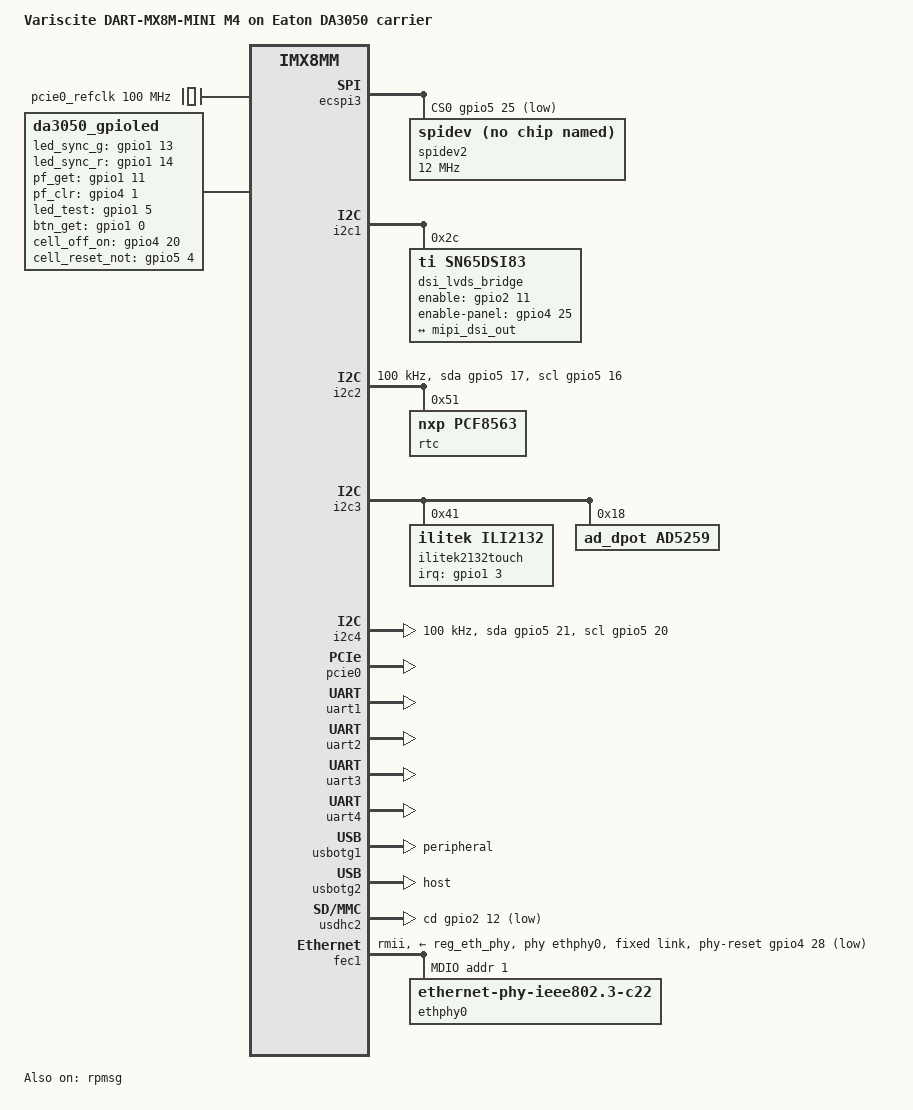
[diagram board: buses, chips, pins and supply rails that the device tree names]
// SPDX-License-Identifier: (GPL-2.0+ OR MIT)
/*
 * Copyright 2019 NXP
 * Copyright 2019-2021 Variscite Ltd.
 * Copyright 2021 Eaton
 */

/*
#include "imx8mm-var-dart-dt8mcustomboard-legacy-m4.dts x"
    #include "imx8mm-var-dart-dt8mcustomboard-legacy.dts x"
        #include "imx8mm-var-dart.dtsi x"
        #include "imx8mm-var-dart-dt8mcustomboard-common.dtsi x"

    #include "imx8mm-var-dart-dt8mcustomboard-m4.dtsi x"
*/

/*
 * ATTENTION: M4 may use IPs. They must be disabled in the device tree.
 * EX: ECSPI1, GPIO4, GPT1, I2C4, WDOG1, PWM3, SDMA1/3, UART3
*/


// Base dtsi.
// Note: includes imx8mm.dtsi
#include "imx8mm-var-dart.dtsi"


// DA3050 specific settings
//////////////////////////////////////////////////

&sdma1{
    status = "okay";
};

&ecspi1 {
    pinctrl-names = "default";
    pinctrl-0 = <&pinctrl_ecspi1>;
    cs-gpios = <&gpio5 9 GPIO_ACTIVE_LOW>;
    status = "disabled";

    /* Test SPI device */
    spidev1@0 {
        reg = <0>;
        compatible = "var,spidev";
        spi-max-frequency = <12000000>;
        status = "disabled";
    };
};

&ecspi3 {
    pinctrl-names = "default";
    pinctrl-0 = <&pinctrl_ecspi3>;
    cs-gpios = <&gpio5 25 GPIO_ACTIVE_LOW>;
    status = "okay";

    /* Test SPI device */
    spidev2@0 {
        reg = <0>;
        compatible = "var,spidev";
        spi-max-frequency = <12000000>;
        status = "okay";
    };
};

&i2c1 {
    // command parameters define in base file

    // Riverdi screen timmings
    dsi_lvds_bridge: sn65dsi84@2c {
        compatible = "ti,sn65dsi83";
        reg = <0x2c>;
        ti,dsi-lanes = <4>;
        ti,lvds-format = <0>;
        ti,lvds-bpp = <24>;
        ti,lvds-channels = <1>;
        ti,width-mm = <154>;
        ti,height-mm = <86>;
        enable-gpios = <&gpio2 11 GPIO_ACTIVE_HIGH>;
        enable-panel-gpios = <&gpio4 25 GPIO_ACTIVE_HIGH>;
        pinctrl-names = "default";
        pinctrl-0 = <&pinctrl_lvds>;
        status = "okay";

        display-timings {
            lvds {
                clock-frequency = <51200000>;
                hactive = <1024>;
                vactive = <600>;
                hback-porch = <160>;
                hfront-porch = <160>;
                vback-porch = <23>;
                vfront-porch = <12>;
                hsync-len = <70>;
                vsync-len = <10>;
                hsync-active = <0>;
                vsync-active = <0>;
                de-active = <1>;
                pixelclk-active = <0>;
            };
        };

        port {
            dsi_lvds_bridge_in: endpoint {
                remote-endpoint = <&mipi_dsi_out>;
            };
        };
    };
};

&i2c2 {
    clock-frequency = <100000>;
    pinctrl-names = "default", "gpio";
    pinctrl-0 = <&pinctrl_i2c2>;
    pinctrl-1 = <&pinctrl_i2c2_gpio>;
    scl-gpios = <&gpio5 16 GPIO_ACTIVE_HIGH>;
    sda-gpios = <&gpio5 17 GPIO_ACTIVE_HIGH>;
    status = "okay";

	rtc@51 {
        status = "okay";
		compatible = "nxp,pcf8563";
		reg = <0x51>;
    };

    /*
	tcg-tpm@2E {
        status = "okay";
		compatible = "st,st33htpm-i2c";
		reg = <0x2E>;
    };
    */
};

&i2c3 {
    // command parameters define in base file

	ilitek2132touch: ilitek2132touch@41 {
		status = "okay";
		compatible = "ilitek,ili2132";
		reg = <0x41>;
		pinctrl-names = "default";
		pinctrl-0 = <&pinctrl_ilitek2132>;
		interrupt-parent = <&gpio1>;
		interrupts = <3 IRQ_TYPE_EDGE_FALLING>;
        //reset-gpios = <&gpiox xx GPIO_ACTIVE_LOW>;
		touchscreen-size-x = <1024>;
		touchscreen-size-y = <600>;
		wakeup-source;
	};

    tsc2007touch: tsc2007touch@4b {
        status = "disabled";
        compatible = "ti,tsc2007";
        reg = <0x4b>;
        pinctrl-names = "default";
        pinctrl-0 = <&pinctrl_tsc2007>;
        interrupt-parent = <&gpio1>;
        interrupts = <3 IRQ_TYPE_EDGE_FALLING>;
        gpios = <&gpio1 3 GPIO_ACTIVE_LOW>;

        ti,x-plate-ohms = <660>;
        ti,min-x = <35>;
        ti,max-x = <4060>;
        ti,min-y = <35>;
        ti,max-y = <4060>;
        ti,printPos = <1>;

        touchscreen-size-x = <1024>;
        touchscreen-fuzz-x = <2>;
        touchscreen-size-y = <600>;
        touchscreen-fuzz-y = <2>;

        touchscreen-inverted-x;
        touchscreen-inverted-y;

        wakeup-source;
	};

	/* AD5259 Digital Potentiometer display backlight control */
	ad5259@18 {
		status = "ok";
		compatible = "ad_dpot,ad5259";
		reg = <0x18>;
    };

	wm8904: audio-codec@1a {
		status = "disabled";
    };
};

&i2c4 {
    clock-frequency = <100000>;
    pinctrl-names = "default", "gpio";
    pinctrl-0 = <&pinctrl_i2c4>;
    pinctrl-1 = <&pinctrl_i2c4_gpio>;
    scl-gpios = <&gpio5 20 GPIO_ACTIVE_HIGH>;
    sda-gpios = <&gpio5 21 GPIO_ACTIVE_HIGH>;
    status = "okay";

    dummy@60 {
        compatible = "dummy";
        reg = <0x60>;
    };
};

&pcie0 {
    clocks = <&clk IMX8MM_CLK_PCIE1_ROOT>,
         <&clk IMX8MM_CLK_PCIE1_AUX>,
         <&clk IMX8MM_CLK_PCIE1_PHY>,
         <&pcie0_refclk>;
    clock-names = "pcie", "pcie_aux", "pcie_phy", "pcie_bus";
    ext_osc = <1>;
    status = "okay";

    //pinctrl-names = "default";
    //pinctrl-0 = <&pinctrl_pcie0>;
    //reset-gpio = <&gpio4 7 GPIO_ACTIVE_LOW>;
};

/* No master power key*/
&snvs_pwrkey {
    status = "disabled";
};

&snvs_rtc {
    status = "disabled";
};

/* Console */
&uart1 {
    pinctrl-names = "default";
    pinctrl-0 = <&pinctrl_uart1>;
    status = "okay";
};

/* COM1 */
&uart2 {
    pinctrl-names = "default";
    pinctrl-0 = <&pinctrl_uart2>, <&pinctrl_uart2_ext>;
    status = "okay";
    rs232_enable-gpio   = <&gpio4 27 GPIO_ACTIVE_HIGH>;
    rs485_enable-gpio	= <&gpio4 18 GPIO_ACTIVE_HIGH>;
    irigout_enable-gpio = <&gpio5 1 GPIO_ACTIVE_HIGH>;

    dcd-gpios = <&gpio4  8 GPIO_ACTIVE_LOW>;
    dsr-gpios = <&gpio4 10 GPIO_ACTIVE_LOW>;
    dtr-gpios = <&gpio4  9 GPIO_ACTIVE_LOW>;
    rng-gpios = <&gpio4 11 GPIO_ACTIVE_LOW>;

	uart-has-rtscts;
    rs485-rts-active-low;
	//rts-gpios = <&gpio4 30 GPIO_ACTIVE_LOW>;
    //cts-gpios = <&gpio4 29 GPIO_ACTIVE_LOW>;

	//cts-gpios = <&gpioY Z GPIO_ACTIVE_HIGH>;                  /* Add rts-gpios property NOT for imx8 uart could, be used to add dcd...*/
	//rts-gpios = <&gpioY Z GPIO_ACTIVE_HIGH>;                  /* Add rts-gpios property */
 	//linux,rs485-enabled-at-boot-time;  						/* Enable RS485 at boot time to skip using TIOCSRS485 ioctl */
    //linux,rs485-rx-during-tx;
    //linux,rs485-rts-active-low;
};

/* PSOC */
&uart3 {
    pinctrl-names = "default";
    pinctrl-0 = <&pinctrl_uart3>;
    status = "okay";
};

/* COM2/Bluetooth
pinctrl-0 = <&pinctrl_uart4>, <&pinctrl_uart4_ext>, <&pinctrl_bt>;
*/
&uart4 {
    pinctrl-names = "default";
    pinctrl-0 = <&pinctrl_uart4>, <&pinctrl_uart4_ext>;
    assigned-clocks = <&clk IMX8MM_CLK_UART4>;
    assigned-clock-parents = <&clk IMX8MM_SYS_PLL1_80M>;
    status = "okay";
    rs232_enable-gpio   = <&gpio1 15 GPIO_ACTIVE_HIGH>;
    rs485_enable-gpio	= <&gpio4 19 GPIO_ACTIVE_HIGH>;
    irigout_enable-gpio = <&gpio5 28 GPIO_ACTIVE_HIGH>;

    dcd-gpios = <&gpio4 12 GPIO_ACTIVE_LOW>;
    dsr-gpios = <&gpio4 0 GPIO_ACTIVE_LOW>;
    dtr-gpios = <&gpio4 13 GPIO_ACTIVE_LOW>;
    rng-gpios = <&gpio4 15 GPIO_ACTIVE_LOW>;

	uart-has-rtscts;
    rs485-rts-active-low;
	//rts-gpios = <&gpiox x GPIO_ACTIVE_LOW>;
    //cts-gpios = <&gpiox x GPIO_ACTIVE_LOW>;
};

&usbotg1 {
    dr_mode = "peripheral";
    picophy,pre-emp-curr-control = <3>;
    picophy,dc-vol-level-adjust = <7>;
    status = "okay";
};

&usbotg2 {
    dr_mode = "host";
    picophy,pre-emp-curr-control = <3>;
    picophy,dc-vol-level-adjust = <7>;
    status = "okay";
};

/* SD */
&usdhc2 {
    pinctrl-names = "default", "state_100mhz", "state_200mhz";
    pinctrl-0 = <&pinctrl_usdhc2>, <&pinctrl_usdhc2_gpio>;
    pinctrl-1 = <&pinctrl_usdhc2_100mhz>, <&pinctrl_usdhc2_gpio>;
    pinctrl-2 = <&pinctrl_usdhc2_200mhz>, <&pinctrl_usdhc2_gpio>;
    cd-gpios = <&gpio2 12 GPIO_ACTIVE_LOW>;
    no-1-8-v;
    status = "okay";
};

&rpmsg{
    compatible = "fsl,imx8mm-rpmsg";
    /*
     * 64K for one rpmsg instance:
     * --0x40000000~0x4000ffff: pingpong
     */
    vdev-nums = <1>;
    reg = <0x0 0x40000000 0x0 0x10000>;
    memory-region = <&vdevbuffer>;
    status = "okay";
};

&fec1 {
    pinctrl-names = "default", "sleep";
    pinctrl-0 = <&pinctrl_fec1>, <&pinctrl_fec1_ext>;
    pinctrl-1 = <&pinctrl_fec1>, <&pinctrl_fec1_ext>;
    //pinctrl-1 = <&pinctrl_fec1_sleep>, <&pinctrl_fec1_ext_sleep>;
    phy-mode = "rmii";
    phy-handle = <&ethphy0>;
	phy-supply = <&reg_eth_phy>;
    phy-reset-gpios = <&gpio4 28 GPIO_ACTIVE_LOW>;
    phy-reset-duration = <20>;
    phy-reset-on-resume;
    status = "okay";

    clocks = <&clk IMX8MM_CLK_ENET1_ROOT>,
            <&clk IMX8MM_CLK_ENET1_ROOT>,
            <&clk IMX8MM_CLK_ENET_TIMER>,
            <&clk IMX8MM_CLK_ENET_REF>,
            <&clk IMX8MM_CLK_ENET_PHY_REF>;

    clock-names = "ipg", "ahb", "ptp",
                "enet_clk_ref", "enet_out";

    assigned-clocks = <&clk IMX8MM_CLK_ENET_AXI>,
                <&clk IMX8MM_CLK_ENET_TIMER>,
                <&clk IMX8MM_CLK_ENET_REF>,
                <&clk IMX8MM_CLK_ENET_TIMER>;

    assigned-clock-parents = <&clk IMX8MM_SYS_PLL1_266M>,
                    <&clk IMX8MM_SYS_PLL2_100M>,
                    <&clk IMX8MM_SYS_PLL2_50M>;

    assigned-clock-rates = <0>, <0>, <50000000>, <100000000>;

    fixed-link {
        speed = <100>;
        full-duplex;
    };

    mdio {
        #address-cells = <1>;
        #size-cells = <0>;
        ethphy0: ethernet-phy@0 {
            compatible = "ethernet-phy-ieee802.3-c22";
            reg = <1>;
            max-speed = <100>;
        };
    };
};

&sai3 {
    status = "diasbled";
};

/*
// Add RDC registers for GPIO access protection
&gpio1 {
    reg = <0x30200000 0x10000>, <0x303D0000 0x10000>, <0x303B0000 0x1>;
    reg-names = "gpio_base", "rdc_base", "sem_base";
    clocks = <&clk IMX8MM_CLK_GPIO1_ROOT>, <&clk IMX8MM_CLK_RDC_ROOT>, <&clk IMX8MM_CLK_SEMA42_1_ROOT>;
    clock-names = "gpio", "rdc", "sem";
};

&gpio2 {
    reg = <0x30210000 0x10000>, <0x303B0001 0x1>;
    reg-names = "gpio_base", "sem_base";
    clocks = <&clk IMX8MM_CLK_GPIO2_ROOT>, <&clk IMX8MM_CLK_RDC_ROOT>, <&clk IMX8MM_CLK_SEMA42_1_ROOT>;
	clock-names = "gpio", "rdc", "sem";
};

&gpio3 {
    reg = <0x30220000 0x10000>, <0x303B0002 0x1>;
    reg-names = "gpio_base", "sem_base";
    clocks = <&clk IMX8MM_CLK_GPIO3_ROOT>, <&clk IMX8MM_CLK_RDC_ROOT>, <&clk IMX8MM_CLK_SEMA42_1_ROOT>;
	clock-names = "gpio", "rdc", "sem";
};

&gpio4 {
    reg = <0x30230000 0x10000>, <0x303B0003 0x1>;
    reg-names = "gpio_base", "sem_base";
    clocks = <&clk IMX8MM_CLK_GPIO4_ROOT>, <&clk IMX8MM_CLK_RDC_ROOT>, <&clk IMX8MM_CLK_SEMA42_1_ROOT>;
	clock-names = "gpio", "rdc", "sem";
};

&gpio5 {
    reg = <0x30240000 0x10000>, <0x303B0004 0x1>;
    reg-names = "gpio_base", "sem_base";
    clocks = <&clk IMX8MM_CLK_GPIO5_ROOT>, <&clk IMX8MM_CLK_RDC_ROOT>, <&clk IMX8MM_CLK_SEMA42_1_ROOT>;
	clock-names = "gpio", "rdc", "sem";
};
*/

// Removed from Linux side, used exclusively by M4
&gpio3 {
    status = "disabled";
};



// New pad control definition to add SION bit set to 1
// See IOMUXC_SW_MUX_CTL_PAD_ENET_TD2 register definition in imx8mm documentation IMX8MMRM
// Could also have been done with NXP ugly 0x40000000 patch
#define MX8MM_IOMUXC_ENET_TD2_ENET1_TX_CLK_EX   0x074 0x2DC 0x000 0x11 0x0
&iomuxc {
    pinctrl-names = "default";

    // These are used to select boot source at startup
    pinctrl_donotusegpios: donotusegpiosgrp {
        fsl,pins = <
            MX8MM_IOMUXC_SAI1_TXD2_GPIO4_IO14       0x14
            MX8MM_IOMUXC_SAI1_TXD4_GPIO4_IO16       0x14
            MX8MM_IOMUXC_SAI1_TXD5_GPIO4_IO17       0x14
        >;
    };

    pinctrl_freegpios: freegpiosgrp {
        fsl,pins = <
			MX8MM_IOMUXC_UART4_TXD_GPIO5_IO29		0x14
			MX8MM_IOMUXC_GPIO1_IO12_GPIO1_IO12		0x14    /* Display fault */
        >;
    };

    pinctrl_bt: btgrp {
        fsl,pins = <
			MX8MM_IOMUXC_SD1_DATA4_GPIO2_IO6		0x14	/* BT_REG_ON       */
			MX8MM_IOMUXC_SPDIF_EXT_CLK_GPIO5_IO5	0x14	/* BT_BUF_EN       */
        >;
    };

    pinctrl_tsc2007: tsc2007grp {
        fsl,pins = <
			MX8MM_IOMUXC_GPIO1_IO03_GPIO1_IO3		0x14
        >;
    };

    pinctrl_ilitek2132: ilitek2132grp {
        fsl,pins = <
			MX8MM_IOMUXC_GPIO1_IO03_GPIO1_IO3		0x14
        >;
    };

    pinctrl_cellmodem: cellmodemgrp {
        // CELL_OFF CELL_RST_B CELL_STATUS_B
        fsl,pins = <
			MX8MM_IOMUXC_SAI1_MCLK_GPIO4_IO20		0x14
			MX8MM_IOMUXC_SPDIF_RX_GPIO5_IO4			0x14
			MX8MM_IOMUXC_SPDIF_TX_GPIO5_IO3			0x14
        >;
    };

    pinctrl_expensiongpios: expensiongpiosgrp {
        fsl,pins = <
			MX8MM_IOMUXC_SAI1_RXD1_GPIO4_IO3		0x14
			MX8MM_IOMUXC_SAI1_RXD2_GPIO4_IO4		0x14
            MX8MM_IOMUXC_SAI1_RXD0_GPIO4_IO2        0x14
        >;
    };

    pinctrl_gps: gpsgrp {
        fsl,pins = <
            MX8MM_IOMUXC_GPIO1_IO01_GPIO1_IO1       0x14
        >;
        //MX8MM_IOMUXC_SAI2_RXD0_GPIO4_IO23		0x14
    };

    pinctrl_ppscpu: ppscpugrp {
        fsl,pins = <
			MX8MM_IOMUXC_SAI1_RXD3_GPIO4_IO5		0x14
        >;
    };

    /*
    pinctrl_pps_gen: ppsgengrp {
        fsl,pins = <
			MX8MM_IOMUXC_GPIO4_IO05_GPIO4_IO5		0x14
        >;
    };
    */

    pinctrl_gpioled: gpioledgrp {
        // SYNC_GREEN, SYNC_RED, PF_LATCH, PF_LATCH_CLR, TEST_LED, BTN
        fsl,pins = <
            MX8MM_IOMUXC_GPIO1_IO13_GPIO1_IO13      0x14
            MX8MM_IOMUXC_GPIO1_IO14_GPIO1_IO14      0x14
			MX8MM_IOMUXC_GPIO1_IO11_GPIO1_IO11		0x14
			MX8MM_IOMUXC_SAI1_RXC_GPIO4_IO1			0x14
			MX8MM_IOMUXC_GPIO1_IO05_GPIO1_IO5		0x14
			MX8MM_IOMUXC_GPIO1_IO00_GPIO1_IO0		0x14
        >;
    };
    
    pinctrl_pwrsupply: pwrsupplygrp {
        fsl,pins = <
			MX8MM_IOMUXC_SAI2_TXFS_GPIO4_IO24		0x14
        >;
    };

    pinctrl_psoc: psocgrp {
        fsl,pins = <
			MX8MM_IOMUXC_SAI1_RXD4_GPIO4_IO6	0x14
			MX8MM_IOMUXC_SAI1_RXD5_GPIO4_IO7	0x14
        >;
    };

    pinctrl_fec1: fec1grp {
        fsl,pins = <
 			MX8MM_IOMUXC_ENET_MDC_ENET1_MDC				0x02
			MX8MM_IOMUXC_ENET_MDIO_ENET1_MDIO			0x02
			MX8MM_IOMUXC_ENET_TD1_ENET1_RGMII_TD1		0x16
			MX8MM_IOMUXC_ENET_TD0_ENET1_RGMII_TD0		0x16
			MX8MM_IOMUXC_ENET_RD1_ENET1_RGMII_RD1		0x90
			MX8MM_IOMUXC_ENET_RD0_ENET1_RGMII_RD0		0x90
			MX8MM_IOMUXC_ENET_RX_CTL_ENET1_RGMII_RX_CTL	0x90
			MX8MM_IOMUXC_ENET_TX_CTL_ENET1_RGMII_TX_CTL	0x16
			MX8MM_IOMUXC_ENET_TD2_ENET1_TX_CLK_EX		0x16
            MX8MM_IOMUXC_SAI3_RXFS_GPIO4_IO28           0x14
        >;
        //MX8MM_IOMUXC_GPIO1_IO09_GPIO1_IO9         0x10  //reserved on dart for onboard phy if present
    };

    pinctrl_fec1_ext: fec1extgrp {
        fsl,pins = <
			MX8MM_IOMUXC_GPIO1_IO10_GPIO1_IO10				0x14        /*ENET_LC_B*/
			MX8MM_IOMUXC_GPIO1_IO08_ENET1_1588_EVENT0_IN	0x14
			MX8MM_IOMUXC_SAI3_MCLK_GPIO5_IO2				0x14        /*ENET1_PPS_IN*/
        >;
		//MX8MM_IOMUXC_ENET_TXC_GPIO1_IO23				0x120
		//MX8MM_IOMUXC_ENET_RXC_GPIO1_IO25				0x120
    };

    pinctrl_fec1_sleep: fec1grpsleep {
        fsl,pins = <
			MX8MM_IOMUXC_ENET_MDC_GPIO1_IO16		0x120
			MX8MM_IOMUXC_ENET_MDIO_GPIO1_IO17		0x120
			MX8MM_IOMUXC_ENET_TD1_GPIO1_IO20		0x120
			MX8MM_IOMUXC_ENET_TD0_GPIO1_IO21		0x120
			MX8MM_IOMUXC_ENET_RD1_GPIO1_IO27		0x120
			MX8MM_IOMUXC_ENET_RD0_GPIO1_IO26		0x120
			MX8MM_IOMUXC_ENET_RX_CTL_GPIO1_IO24		0x120
			MX8MM_IOMUXC_ENET_TX_CTL_GPIO1_IO22		0x120
			MX8MM_IOMUXC_ENET_TD2_GPIO1_IO19		0x120
            MX8MM_IOMUXC_SAI3_RXFS_GPIO4_IO28       0x10
        >;
		//MX8MM_IOMUXC_GPIO1_IO09_GPIO1_IO9		0x120
    };

    pinctrl_fec1_ext_sleep: fec1extsleepgrp {
        fsl,pins = <
			MX8MM_IOMUXC_GPIO1_IO10_GPIO1_IO10				0x10
			MX8MM_IOMUXC_GPIO1_IO08_ENET1_1588_EVENT0_IN	0x10
			MX8MM_IOMUXC_SAI3_MCLK_GPIO5_IO2				0x10
        >;
        //MX8MM_IOMUXC_ENET_TXC_GPIO1_IO23				0x120
        //MX8MM_IOMUXC_ENET_RXC_GPIO1_IO25				0x120
    };

    pinctrl_lvds: lvdsgrp {
        fsl,pins = <
			MX8MM_IOMUXC_SD1_STROBE_GPIO2_IO11		0x16
			MX8MM_IOMUXC_SAI2_TXC_GPIO4_IO25		0x14		/*PWR_EN*/
        >;
    };

    pinctrl_ecspi1: ecspi1grp {
        // IOs Reserved for M4 not used by A53
        fsl,pins = <
			MX8MM_IOMUXC_ECSPI1_SCLK_ECSPI1_SCLK	0x12
			MX8MM_IOMUXC_ECSPI1_MOSI_ECSPI1_MOSI	0x12
			MX8MM_IOMUXC_ECSPI1_MISO_ECSPI1_MISO	0x12
			MX8MM_IOMUXC_ECSPI1_SS0_GPIO5_IO9		0x14
        >;
    };

    pinctrl_ecspi3: ecspi3grp {
        // FRAM
        fsl,pins = <
			MX8MM_IOMUXC_UART2_RXD_ECSPI3_MISO		0x12
			MX8MM_IOMUXC_UART1_TXD_ECSPI3_MOSI		0x12
			MX8MM_IOMUXC_UART1_RXD_ECSPI3_SCLK		0x12
			MX8MM_IOMUXC_UART2_TXD_GPIO5_IO25		0x14
        >;
    };

    pinctrl_i2c1: i2c1grp {
        // WARNIG!!!  Although not documented the 0x40000000 bit is necessary
        // See IMX_PAD_SION in linux-variscite/drivers/pinctrl/freescale/pinctrl-imx.c
        // This is a patch from NXP to override the SION bit in the MUX control register.
        fsl,pins = <
			MX8MM_IOMUXC_I2C1_SCL_I2C1_SCL			0x400001c2
			MX8MM_IOMUXC_I2C1_SDA_I2C1_SDA			0x400001c2
        >;
    };

    pinctrl_i2c1_gpio: i2c1grp-gpio {
        fsl,pins = <
			MX8MM_IOMUXC_I2C1_SCL_GPIO5_IO14		0x1c2
			MX8MM_IOMUXC_I2C1_SDA_GPIO5_IO15		0x1c2
        >;
    };

    pinctrl_i2c2: i2c2grp {
        // WARNIG!!!  Although not documented the 0x40000000 bit is necessary
        // See IMX_PAD_SION in linux-variscite/drivers/pinctrl/freescale/pinctrl-imx.c
        // This is a patch from NXP to override the SION bit in the MUX control register.
        fsl,pins = <
			MX8MM_IOMUXC_I2C2_SCL_I2C2_SCL			0x400001c2
			MX8MM_IOMUXC_I2C2_SDA_I2C2_SDA			0x400001c2
        >;
    };

    pinctrl_i2c2_gpio: i2c2grp-gpio {
        fsl,pins = <
			MX8MM_IOMUXC_I2C2_SCL_GPIO5_IO16		0x1c2
			MX8MM_IOMUXC_I2C2_SDA_GPIO5_IO17		0x1c2
        >;
    };

    pinctrl_i2c3: i2c3grp {
        // WARNIG!!!  Although not documented the 0x40000000 bit is necessary
        // See IMX_PAD_SION in linux-variscite/drivers/pinctrl/freescale/pinctrl-imx.c
        // This is a patch from NXP to override the SION bit in the MUX control register.
        fsl,pins = <
			MX8MM_IOMUXC_I2C3_SCL_I2C3_SCL			0x400001c2
			MX8MM_IOMUXC_I2C3_SDA_I2C3_SDA			0x400001c2
        >;
    };

    pinctrl_i2c3_gpio: i2c3grp-gpio {
        fsl,pins = <
			MX8MM_IOMUXC_I2C3_SCL_GPIO5_IO18		0x1c2
			MX8MM_IOMUXC_I2C3_SDA_GPIO5_IO19		0x1c2
        >;
    };

    pinctrl_i2c4: i2c4grp {
        // WARNIG!!!  Although not documented the 0x40000000 bit is necessary
        // See IMX_PAD_SION in linux-variscite/drivers/pinctrl/freescale/pinctrl-imx.c
        // This is a patch from NXP to override the SION bit in the MUX control register.
        fsl,pins = <
			MX8MM_IOMUXC_I2C4_SCL_I2C4_SCL			0x400001c2
			MX8MM_IOMUXC_I2C4_SDA_I2C4_SDA			0x400001c2
        >;
    };

    pinctrl_i2c4_gpio: i2c4grp-gpio {
        fsl,pins = <
			MX8MM_IOMUXC_I2C4_SCL_GPIO5_IO20		0x1c2
			MX8MM_IOMUXC_I2C4_SDA_GPIO5_IO21		0x1c2
        >;
    };

    pinctrl_uart1: uart1grp {
        fsl,pins = <
			MX8MM_IOMUXC_SAI2_RXC_UART1_DCE_RX		0x100
			MX8MM_IOMUXC_SAI2_RXFS_UART1_DCE_TX		0x140
        >;
    };

    pinctrl_uart2: uart2grp {
        fsl,pins = <
			MX8MM_IOMUXC_SAI3_TXFS_UART2_DCE_RX		0x140
			MX8MM_IOMUXC_SAI3_TXC_UART2_DCE_TX		0x140
			MX8MM_IOMUXC_SAI3_RXC_UART2_DCE_CTS_B	0x140
			MX8MM_IOMUXC_SAI3_RXD_UART2_DCE_RTS_B	0x140
        >;
    };

    pinctrl_uart2_ext: uart2extgrp {
        /*  COM1_232_EN 
            COM1_485_EN 
            COM1_DSR 
            COM1_DTR 
            COM1_GPIO_DCD 
            COM1_GPIO_RI 
            COM1_IRIG_EN */
        fsl,pins = <
            MX8MM_IOMUXC_SAI2_MCLK_GPIO4_IO27       0x14
 			MX8MM_IOMUXC_SAI1_TXD6_GPIO4_IO18		0x14
			MX8MM_IOMUXC_SAI1_TXFS_GPIO4_IO10		0x14
			MX8MM_IOMUXC_SAI1_RXD7_GPIO4_IO9		0x14
			MX8MM_IOMUXC_SAI1_RXD6_GPIO4_IO8		0x14
			MX8MM_IOMUXC_SAI1_TXC_GPIO4_IO11		0x14
			MX8MM_IOMUXC_SAI3_TXD_GPIO5_IO1			0x14
        >;
    };

    pinctrl_uart3: uart3grp {
        fsl,pins = <
			MX8MM_IOMUXC_UART3_RXD_UART3_DCE_RX		0x140
			MX8MM_IOMUXC_UART3_TXD_UART3_DCE_TX		0x140
        >;
    };
    
    pinctrl_uart4: uart4grp {
        fsl,pins = <
			MX8MM_IOMUXC_ECSPI2_SCLK_UART4_DCE_RX		0x140
			MX8MM_IOMUXC_ECSPI2_MOSI_UART4_DCE_TX		0x140
			MX8MM_IOMUXC_ECSPI2_SS0_UART4_DCE_RTS_B		0x14
			MX8MM_IOMUXC_ECSPI2_MISO_UART4_DCE_CTS_B	0x14
        >;
    };

    pinctrl_uart4_ext: uart4extgrp {
        /*  COM2_232_EN 
            COM2_485_EN 
            COM2_DSR 
            COM2_DTR 
            COM2_GPIO_DCD 
            COM2_GPIO_RI 
            COM2_IRIG_EN */
        fsl,pins = <
            MX8MM_IOMUXC_GPIO1_IO15_GPIO1_IO15          0x14
			MX8MM_IOMUXC_SAI1_TXD7_GPIO4_IO19			0x14
            MX8MM_IOMUXC_SAI1_RXFS_GPIO4_IO0            0x14
			MX8MM_IOMUXC_SAI1_TXD1_GPIO4_IO13			0x14
			MX8MM_IOMUXC_SAI1_TXD0_GPIO4_IO12			0x14
			MX8MM_IOMUXC_SAI1_TXD3_GPIO4_IO15			0x14
			MX8MM_IOMUXC_UART4_RXD_GPIO5_IO28			0x14
        >;
    };

    pinctrl_usdhc2: usdhc2grp {
        fsl,pins = <
			MX8MM_IOMUXC_SD2_CLK_USDHC2_CLK				0x190
			MX8MM_IOMUXC_SD2_CMD_USDHC2_CMD				0x1d0
			MX8MM_IOMUXC_SD2_DATA0_USDHC2_DATA0			0x1d0
			MX8MM_IOMUXC_SD2_DATA1_USDHC2_DATA1			0x1d0
			MX8MM_IOMUXC_SD2_DATA2_USDHC2_DATA2			0x1d0
			MX8MM_IOMUXC_SD2_DATA3_USDHC2_DATA3			0x1d0
			MX8MM_IOMUXC_GPIO1_IO04_USDHC2_VSELECT		0x1d0
        >;
    };

    pinctrl_usdhc2_100mhz: usdhc2grp100mhz {
        fsl,pins = <
			MX8MM_IOMUXC_SD2_CLK_USDHC2_CLK				0x194
			MX8MM_IOMUXC_SD2_CMD_USDHC2_CMD				0x1d4
			MX8MM_IOMUXC_SD2_DATA0_USDHC2_DATA0			0x1d4
			MX8MM_IOMUXC_SD2_DATA1_USDHC2_DATA1			0x1d4
			MX8MM_IOMUXC_SD2_DATA2_USDHC2_DATA2			0x1d4
			MX8MM_IOMUXC_SD2_DATA3_USDHC2_DATA3			0x1d4
			MX8MM_IOMUXC_GPIO1_IO04_USDHC2_VSELECT		0x1d0
        >;
    };

    pinctrl_usdhc2_200mhz: usdhc2grp200mhz {
        fsl,pins = <
			MX8MM_IOMUXC_SD2_CLK_USDHC2_CLK				0x196
			MX8MM_IOMUXC_SD2_CMD_USDHC2_CMD				0x1d6
			MX8MM_IOMUXC_SD2_DATA0_USDHC2_DATA0			0x1d6
			MX8MM_IOMUXC_SD2_DATA1_USDHC2_DATA1			0x1d6
			MX8MM_IOMUXC_SD2_DATA2_USDHC2_DATA2			0x1d6
			MX8MM_IOMUXC_SD2_DATA3_USDHC2_DATA3			0x1d6
			MX8MM_IOMUXC_GPIO1_IO04_USDHC2_VSELECT		0x1d0
        >;
    };

    pinctrl_usdhc2_gpio: usdhc2grpgpio {
        fsl,pins = <
			MX8MM_IOMUXC_SD2_CD_B_GPIO2_IO12		0x80
        >;
    };

    /*
    // Reserved for M4
	pinctrl_m4cpu: m4cpugrp {
        fsl,pins = <
            MX8MM_IOMUXC_SAI5_RXFS_GPIO3_IO19   0x14    //SPI_FUNCT_MUX0
            MX8MM_IOMUXC_SAI5_RXD1_GPIO3_IO22   0x14    //SPI_FUNCT_MUX1
            MX8MM_IOMUXC_SAI5_RXD2_GPIO3_IO23   0x14    //SPI_FUNCT_MUX2

            MX8MM_IOMUXC_SAI5_RXD3_GPIO3_IO24   0x14    //SPI_SLOT_CS_MUX0_B
            MX8MM_IOMUXC_SAI5_RXC_GPIO3_IO20    0x14    //SPI_SLOT_CS_MUX1_B
            MX8MM_IOMUXC_SAI5_RXD0_GPIO3_IO21   0x14    //SPI_SLOT_CS_MUX2_B

			MX8MM_IOMUXC_SAI2_TXD0_GPIO4_IO26	0x14    //DELAY_RESET_B
            MX8MM_IOMUXC_SAI5_MCLK_GPIO3_IO25   0x14    //GPIO_PSOC_PPS_OUT
            MX8MM_IOMUXC_NAND_CE0_B_GPIO3_IO1   0x14    //GPIO_PUSH_BUTTON_B_1V8
        >;
    };
    */
};


/ {
    model = "Variscite DART-MX8M-MINI M4 on Eaton DA3050 carrier";

    chosen {
        stdout-path = &uart1;
    };

    pcie0_refclk: pcie0-refclk {
        compatible = "fixed-clock";
        #clock-cells = <0>;
        clock-frequency = <100000000>;
    };

    gpioled {
        compatible = "da3050_gpioled";
        pinctrl-names = "default";
        status = "okay";
        pinctrl-0 = <&pinctrl_gpioled>, <&pinctrl_cellmodem>;
        //pinctrl-0 = <&pinctrl_gpioled>, <&pinctrl_cellmodem>, <&pinctrl_expensiongpios>, <&pinctrl_freegpios>;

        led_sync_g-gpio = <&gpio1 13 GPIO_ACTIVE_HIGH>;
        led_sync_r-gpio = <&gpio1 14 GPIO_ACTIVE_HIGH>;
        pf_get-gpio     = <&gpio1 11 GPIO_ACTIVE_HIGH>;
        pf_clr-gpio     = <&gpio4  1 GPIO_ACTIVE_HIGH>;
        led_test-gpio   = <&gpio1  5 GPIO_ACTIVE_HIGH>;
        btn_get-gpio    = <&gpio1  0 GPIO_ACTIVE_HIGH>;

        cell_off_on-gpio =     <&gpio4 20 GPIO_ACTIVE_HIGH>;
        cell_reset_not-gpio =  <&gpio5 4 GPIO_ACTIVE_HIGH>;
        cell_status-gpio =     <&gpio5 3 GPIO_ACTIVE_HIGH>;

        /*
        Internal pull resistor test on inactive GPIOs!!!
        gpio1_12-gpio   = <&gpio1 12 GPIO_ACTIVE_HIGH>;
        gpio4_02-gpio   = <&gpio4  2 GPIO_ACTIVE_HIGH>;
        gpio4_03-gpio   = <&gpio4  3 GPIO_ACTIVE_HIGH>;
        gpio4_04-gpio   = <&gpio4  4 GPIO_ACTIVE_HIGH>;
        */
    };

    /*
    pps-gen {
        compatible = "pps-gen-gpio";
        status = "disabled";
        pinctrl-names = "default";
        pinctrl-0 = <&pinctrl_pps_gen>;
        pps-gen-gpio = <&gpio1 5 GPIO_ACTIVE_HIGH>;
        default-state = "off";
    };
    */

    imx8mm-cm4 {
        compatible = "fsl,imx8mm-cm4";
        rsc-da = <0x40000000>;
        clocks = <&clk IMX8MM_CLK_M4_DIV>;
        mbox-names = "tx", "rx", "rxdb";
        mboxes = <&mu 0 1
              &mu 1 1
              &mu 3 1>;
        memory-region = <&vdev0vring0>, <&vdev0vring1>, <&vdevbuffer>, <&m4_reserved>;
        syscon = <&src>;
    };

    reserved-memory {
        m4_reserved: m4@0x7e000000 {
            no-map;
            reg = <0 0x7e000000 0 0x1000000>;
        };

        vdev0vring0: vdev0vring0@40000000 {
            compatible = "shared-dma-pool";
            reg = <0 0x40000000 0 0x8000>;
            no-map;
        };

        vdev0vring1: vdev0vring1@40008000 {
            compatible = "shared-dma-pool";
            reg = <0 0x40008000 0 0x8000>;
            no-map;
        };

        vdevbuffer: vdevbuffer@0x40400000 {
            compatible = "shared-dma-pool";
            reg = <0 0x40400000 0 0x100000>;
            no-map;
        };
    };

    thermal-zones {
        cpu-thermal {
            polling-delay-passive = <250>;
            polling-delay = <2000>;
            thermal-sensors = <&tmu>;
            trips {
                cpu_alert0: trip0 {
                    temperature = <95000>;
                    hysteresis = <2000>;
                    type = "passive";
                };

                cpu_crit0: trip1 {
                    temperature = <105000>;
                    hysteresis = <2000>;
                    type = "critical";
                };
            };

            cooling-maps {
                map0 {
                    trip = <&cpu_alert0>;
                    cooling-device =
                        <&A53_0 THERMAL_NO_LIMIT THERMAL_NO_LIMIT>,
                        <&A53_1 THERMAL_NO_LIMIT THERMAL_NO_LIMIT>,
                        <&A53_2 THERMAL_NO_LIMIT THERMAL_NO_LIMIT>,
                        <&A53_3 THERMAL_NO_LIMIT THERMAL_NO_LIMIT>;
                };
            };
        };
    };

	sound-wm8904 {
		status = "disabled";
	};

    gpio-pwrsupply {
        pinctrl-names = "default";
        pinctrl-0 = <&pinctrl_pwrsupply>;

        pwr {
            gpios = <&gpio4 24 GPIO_ACTIVE_HIGH>;
        };
    };


    gpio-free {
        pinctrl-names = "default";
        pinctrl-0 = <&pinctrl_freegpios>;

        free1 {
            gpios = <&gpio5 29 GPIO_ACTIVE_HIGH>;
        };

        /*
       free2 {
            gpios = <&gpio1 12 GPIO_ACTIVE_HIGH>;
        };
        */
    };

    gpio-expansions {
        pinctrl-names = "default";
        pinctrl-0 = <&pinctrl_expensiongpios>;

        exp1 {
            gpios = <&gpio4 3 GPIO_ACTIVE_HIGH>;
        };

        exp2 {
            gpios = <&gpio4 4 GPIO_ACTIVE_HIGH>;
        };

        exp3 {
            gpios = <&gpio4 2 GPIO_ACTIVE_HIGH>;
        };
    };

    gpio-gps {
        pinctrl-names = "default";
        pinctrl-0 = <&pinctrl_gps>;

        reset {
            gpios = <&gpio1 1 GPIO_ACTIVE_HIGH>;
        };

        /*
        pps_in {
            gpios = <&gpio4 23 GPIO_ACTIVE_HIGH>;
        };
        */
    };

    gpio-ppscpu {
        pinctrl-names = "default";
        pinctrl-0 = <&pinctrl_ppscpu>;

        pps_out {
            gpios = <&gpio4 5 GPIO_ACTIVE_HIGH>;
        };
    };

    gpio-psoc {
        pinctrl-names = "default";
        pinctrl-0 = <&pinctrl_psoc>;

        gpio1 {
            gpios = <&gpio4 6 GPIO_ACTIVE_HIGH>;
        };

        gpio2 {
            gpios = <&gpio4 7 GPIO_ACTIVE_HIGH>;
        };
    };

    /*
    gpio-cellmodem {
        pinctrl-names = "default";
        pinctrl-0 = <&pinctrl_cellmodem>;

        cell_off {
            gpios = <&gpio4 20 GPIO_ACTIVE_HIGH>;
        };

        cell_reset {
            gpios = <&gpio5 4 GPIO_ACTIVE_HIGH>;
        };

        cell_status {
            gpios = <&gpio5 3 GPIO_ACTIVE_HIGH>;
        };
    };
    */

    /*
    // Reserved for m4 CPU
	gpio-m4cpu {
        pinctrl-names = "default";
        pinctrl-0 = <&pinctrl_m4cpu>;

		delay_reset {
			gpios = <&gpio4 26 GPIO_ACTIVE_HIGH>;
		};

        btn_in {
            gpios = <&gpio3 1 GPIO_ACTIVE_LOW>;
        };

        pps_in {
            gpios = <&gpio3 25 GPIO_ACTIVE_HIGH>;
        };

        funct {
            mux0-gpios = <&gpio3 19 GPIO_ACTIVE_HIGH>;
            mux1-gpios = <&gpio3 22 GPIO_ACTIVE_HIGH>;
            mux2-gpios = <&gpio3 23 GPIO_ACTIVE_HIGH>;
        };

        slot {
            mux0-gpios = <&gpio3 24 GPIO_ACTIVE_HIGH>;
            mux1-gpios = <&gpio3 20 GPIO_ACTIVE_HIGH>;
            mux2-gpios = <&gpio3 21 GPIO_ACTIVE_HIGH>;
        };
    };
    */
};

&gpio1 {
    gpio-line-names =
    "01_00 BTN              ",
    "01_01 PSOC pps_in      ",
    "01_02                  ",
    "01_03 ilitek touch     ",
    "01_04                  ",
    "01_05 LED test         ",
    "01_06 free             ",
    "01_07                  ",
    "01_08                  ",
    "01_09 fec              ",
    "01_10 fec ?            ",
    "01_11 CR pf_latch      ",
    "01_12 free             ",
    "01_13 EXP FUNC mux3    ",
    "01_14 EXP SLOT mux0    ",
    "01_15 EXP SLOT mux1    ",
    "01_16                  ",
    "01_17                  ",
    "01_18                  ",
    "01_19                  ",
    "01_20                  ",
    "01_21                  ",
    "01_22                  ",
    "01_23 fec              ",
    "01_24                  ",
    "01_25 fec              ",
    "01_26                  ",
    "01_27                  ",
    "01_28                  ",
    "01_29                  ",
    "01_30                  ",
    "01_31                  ";
};

&gpio2 {
    gpio-line-names =
    "02_00                  ",
    "02_01                  ",
    "02_02                  ",
    "02_03                  ",
    "02_04                  ",
    "02_05                  ",
    "02_06 BT_REG_ON        ",
    "02_07                  ",
    "02_08                  ",
    "02_09                  ",
    "02_10                  ",
    "02_11 lvds             ",
    "02_12 usdhc2           ",
    "02_13                  ",
    "02_14                  ",
    "02_15                  ",
    "02_16                  ",
    "02_17                  ",
    "02_18                  ",
    "02_19 usdhc2           ",
    "02_20                  ",
    "02_21                  ",
    "02_22                  ",
    "02_23                  ",
    "02_24                  ",
    "02_25                  ",
    "02_26                  ",
    "02_27                  ",
    "02_28                  ",
    "02_29                  ",
    "02_30                  ",
    "02_31                  ";
};

&gpio3 {
    gpio-line-names =
    "03_00                  ",
    "03_01                  ",
    "03_02                  ",
    "03_03                  ",
    "03_04                  ",
    "03_05 cpu pps out      ",
    "03_06                  ",
    "03_07                  ",
    "03_08                  ",
    "03_09 fec ?            ",
    "03_10                  ",
    "03_11                  ",
    "03_12                  ",
    "03_13                  ",
    "03_14                  ",
    "03_15                  ",
    "03_16                  ",
    "03_17                  ",
    "03_18                  ",
    "03_19                  ",
    "03_20 LED wd_red       ",
    "03_21 LED wd_green     ",
    "03_22 EXP gpio3        ",
    "03_23 LED sync_green   ",
    "03_24 LED sync_red     ",
    "03_25 GPS reset        ",
    "03_26                  ",
    "03_27                  ",
    "03_28                  ",
    "03_29                  ",
    "03_30                  ",
    "03_31                  ";
};

&gpio4 {
    gpio-line-names =
    "04_00 free             ",
    "04_01 CR pf_latch_clr  ",
    "04_02 EXP FUNC mux1    ",
    "04_03 EXP gpio1        ",
    "04_04 EXP gpio2        ",
    "04_05 free             ",
    "04_06 PSOC gpio1       ",
    "04_07 PSOC gpio2       ",
    "04_08                  ",
    "04_09 CELL_OFF         ",
    "04_10                  ",
    "04_11                  ",
    "04_12                  ",
    "04_13                  ",
    "04_14                  ",
    "04_15                  ",
    "04_16                  ",
    "04_17                  ",
    "04_18                  ",
    "04_19                  ",
    "04_20                  ",
    "04_21                  ",
    "04_22                  ",
    "04_23 GPS pps_in       ",
    "04_24 pwr              ",
    "04_25 Display PWR_EN_B ",
    "04_26 CR delay_reset   ",
    "04_27 EXP SLOT mux3    ",
    "04_28 EXP FUNC mux0    ",
    "04_29                  ",
    "04_30                  ",
    "04_31                  ";
};

&gpio5 {
    gpio-line-names =
    "05_00                  ",
    "05_01                  ",
    "05_02 fec ?            ",
    "05_03 CELL_STATUS_B    ",
    "05_04 CELL_RST_B       ",
    "05_05 BT_BUF_EN        ",
    "05_06                  ",
    "05_07                  ",
    "05_08                  ",
    "05_09 ecspi1           ",
    "05_10                  ",
    "05_11                  ",
    "05_12                  ",
    "05_13                  ",
    "05_14                  ",
    "05_15                  ",
    "05_16                  ",
    "05_17                  ",
    "05_18                  ",
    "05_19                  ",
    "05_20                  ",
    "05_21                  ",
    "05_22                  ",
    "05_23                  ",
    "05_24                  ",
    "05_25 ecspi3           ",
    "05_26                  ",
    "05_27                  ",
    "05_28 free             ",
    "05_29                  ",
    "05_30                  ",
    "05_31                  ";
};
